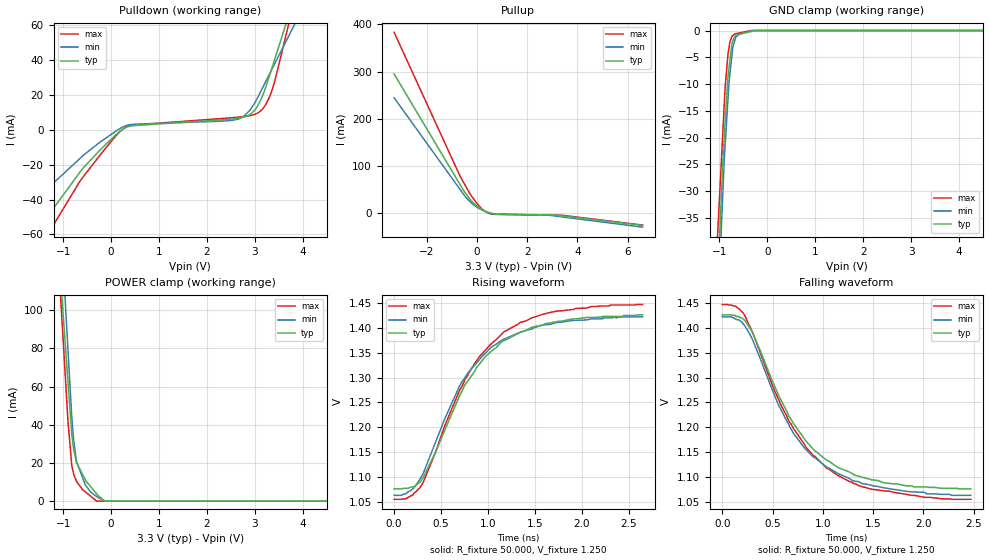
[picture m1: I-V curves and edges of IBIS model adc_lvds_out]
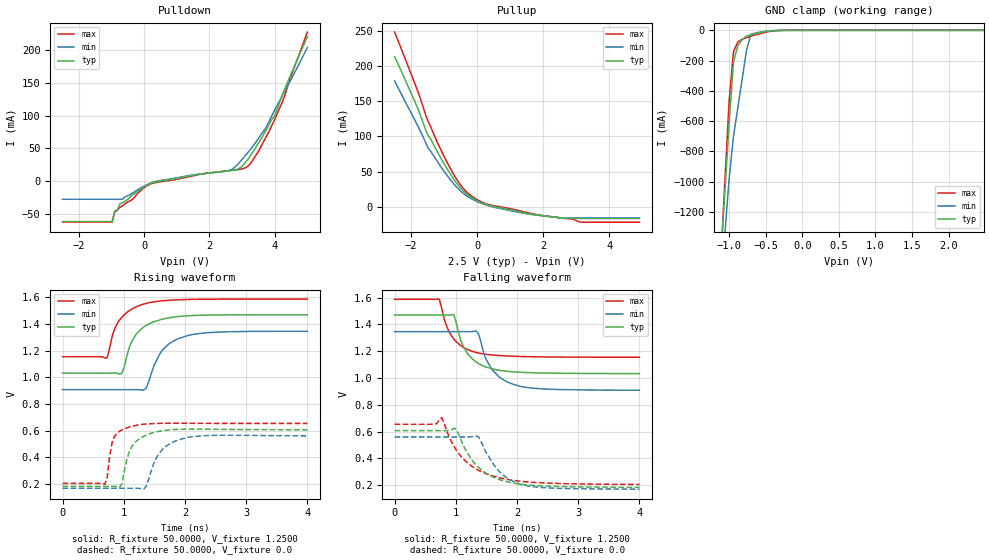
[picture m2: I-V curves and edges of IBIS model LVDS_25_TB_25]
[IBIS Ver]   3.2
[Comment Char] |_char
[File Name]   LVDS_OUT.ibs
[File Rev]   3.0
[Source]
| This model file was created by Teraspeed Consulting Group LLC
| (http://www.teraspeed.com/).
[Date]   09-03-2008
[Notes]   Quality Check of this IBIS model: Model Passes IBIS Check
   Model parses into ICX IS. Simulation done with Hyperlynx.
   1. MIN TYP MAX information is based on Temperature and Voltage
   characteristics only.
[Disclaimer]
| This model is designed as an aid for customers of Texas Instruments.
| TI and its licensors and suppliers make no warranties, either expressed
| or implied, with respect to this  model, including the warranties of
| merchantability or fitness for a particular purpose.
| The model is provided solely on an "as is" basis. The entire risk as to
| its quality and performance is with the customer.
[Copyright]
|  (C) Copyright 2008 Texas Instruments Incorporated. All rights reserved.
[Component]   ADS5463
[Manufacturer] TI
[Package]
| variable   typ   min   max
R_pkg  1.550E-01   1.256E-01   2.000E-01
L_pkg  2.837E-09   2.298E-09   3.660E-09
C_pkg  6.953E-13   5.633E-13   8.970E-13
[Pin] signal_name  model_name
C10  	LA06_P   adc_lvds_out
C11  	LA06_N   adc_lvds_out
C14	LA10_P   adc_lvds_out
C15	LA10_N   adc_lvds_out
C18  	LA14_P   adc_lvds_out
C19  	LA14_N   adc_lvds_out
C22	LA18_P_CC  adc_lvds_out
C23	LA18_N_CC  adc_lvds_out
C26	LA27_P   adc_lvds_out
C27	LA27_N   adc_lvds_out
D8  	LA01_P_CC  adc_lvds_out
D9  	LA01_N_CC  adc_lvds_out
D11	LA05_P   adc_lvds_out
D12	LA05_N   adc_lvds_out
D14  	LA05_P   adc_lvds_out
D15  	LA05_N   adc_lvds_out
D17	LA13_P   adc_lvds_out
D18	LA13_N   adc_lvds_out
D20	LA17_P_CC  adc_lvds_out
D21	LA17_N_CC  adc_lvds_out
D23	LA23_P   adc_lvds_out
D24	LA23_N   adc_lvds_out
D26  	LA26_P   adc_lvds_out
D27  	LA26_N   adc_lvds_out
G2  	CLK1_M2C_P adc_lvds_out
G3  	CLK1_M2C_N adc_lvds_out
G6  	LA00_P_CC  adc_lvds_out
G7  	LA00_N_CC  adc_lvds_out
G9	LA03_P   adc_lvds_out
G10	LA03_N   adc_lvds_out
G12  	LA08_P   adc_lvds_out
G13  	LA08_N   adc_lvds_out
G15	LA12_P   adc_lvds_out
G16	LA12_N   adc_lvds_out
G18	LA16_P   adc_lvds_out
G19	LA16_N   adc_lvds_out
G21	LA20_P   adc_lvds_out
G22	LA20_N   adc_lvds_out
G24  	LA22_P   adc_lvds_out
G25  	LA22_N   adc_lvds_out
G27	LA25_P   adc_lvds_out
G28	LA25_N   adc_lvds_out
G30  	LA29_P   adc_lvds_out
G31  	LA29_N   adc_lvds_out
G33  	LA31_P   adc_lvds_out
G34  	LA31_N   adc_lvds_out
G36  	LA33_P   adc_lvds_out
G37  	LA33_N   adc_lvds_out
H4  	CLK0_M2C_P adc_lvds_out
H5  	CLK0_M2C_N adc_lvds_out
H7  	LA02_P  	adc_lvds_out
H8  	LA02_N  	adc_lvds_out
H10	LA04_P   adc_lvds_out
H11	LA04_N   adc_lvds_out
H13  	LA07_P   adc_lvds_out
H14  	LA07_N   adc_lvds_out
H16	LA11_P   adc_lvds_out
H17	LA11_N   adc_lvds_out
H19	LA15_P   adc_lvds_out
H20	LA15_N   adc_lvds_out
H22	LA19_P   adc_lvds_out
H23	LA19_N   adc_lvds_out
H25  	LA21_P   adc_lvds_out
H26  	LA21_N   adc_lvds_out
H28	LA24_P   adc_lvds_out
H29	LA24_N   adc_lvds_out
H31  	LA28_P   adc_lvds_out
H32  	LA28_N   adc_lvds_out
H34  	LA30_P   adc_lvds_out
H35  	LA30_N   adc_lvds_out
H37  	LA32_P   adc_lvds_out
H38  	LA32_N   adc_lvds_out
[Diff Pin]   inv_Pin	vdiff   tdelay_typ   tdelay_min   tdelay_max
C10   C11   100mv   0   0   0
C14   C15   100mv   0   0   0
C18   C19   100mv   0   0   0
C22   C23   100mv   0   0   0
C26   C27   100mv   0   0   0
D8   D9   100mv   0   0   0
D11   D12   100mv   0   0   0
D14   D15   100mv   0   0   0
D17   D18   100mv   0   0   0
D20   D21   100mv   0   0   0
D23   D24   100mv   0   0   0
D26   D27   100mv   0   0   0
G2   G3   100mv   0   0   0
G6   G7   100mv   0   0   0
G9   G10   100mv   0   0   0
G12   G13   100mv   0   0   0
G15   G16   100mv   0   0   0
G18   G19   100mv   0   0   0
G21   G22   100mv   0   0   0
G24   G25   100mv   0   0   0
G27   G28   100mv   0   0   0
G30   G31   100mv   0   0   0
G33   G34   100mv   0   0   0
G36   G37   100mv   0   0   0
H4   H5   100mv   0   0   0
H7   H8   100mv   0   0   0
H10   H11   100mv   0   0   0
H13   H14   100mv   0   0   0
H16   H17   100mv   0   0   0
H19   H20   100mv   0   0   0
H22   H23   100mv   0   0   0
H25   H26   100mv   0   0   0
H28   H29   100mv   0   0   0
H31   H32   100mv   0   0   0
H34   H35   100mv   0   0   0
H37   H38   100mv   0   0   0
| Models and submodels in the file (2): adc_lvds_out (Output), LVDS_25_TB_25 (I/O)
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[Model]   adc_lvds_out
Model_type Output
Vref=1.250E+00
Rref=5.000E+01
Cref=0.000E+00
Vmeas=1.250E+00
C_comp   5.750E-13   5.750E-13   5.750E-13
[Voltage Range]   3.300E+00   3.000E+00   3.600E+00
[POWER Clamp Reference]   3.300E+00   3.000E+00   3.600E+00
[GND Clamp Reference]   0.000E+00   0.000E+00   0.000E+00
[Pullup Reference]   3.300E+00   3.000E+00   3.600E+00
[Pulldown Reference]   0.000E+00   0.000E+00   0.000E+00
[Temperature Range]   25   85   -40
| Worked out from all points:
|   slope of the pulldown table from 0 to 0.495 V, typ, clamps not added: 62.3 ohm
|   slope of the pullup table from 0 to 0.495 V, typ, clamps not added: 34.6 ohm
|   GND clamp passes 1 mA (typ) near -0.67 V on its own axis
|   POWER clamp passes 1 mA (typ) near -0.18 V on its own axis
|   rising waveform, R_fixture 50.000, V_fixture 1.250: 20-80 % time 625ps typ, 611ps min, 633ps max; typ from 1.08 V to 1.43 V
|   falling waveform, R_fixture 50.000, V_fixture 1.250: 20-80 % time 589ps typ, 592ps min, 618ps max; typ from 1.43 V to 1.08 V
[GND Clamp]
-3.6V     -572.9mA   -589.2mA   -487.5mA
-3V       -449.8mA   -463.6mA   -382.2mA
-920mV    -22.85mA   -28.49mA   -17.46mA
-880mV    -17.11mA   -21.37mA   -10.45mA
-820mV    -8.505mA   -12.58mA   -4.285mA
-800mV    -7.013mA   -9.643mA   -3.185mA
-740mV    -2.537mA   -4.72mA    -1.089mA
-720mV    -1.974mA   -3.079mA   -937.9uA
-680mV    -1.171mA   -1.846mA   -635.1uA
-600mV    -773.6uA   -744.8uA   -485.7uA
-300mV    -114.9uA   0A         0A
7.2V      0A         0A         0A
[POWER Clamp]
-3.9V     1.11A      1.418A     1.314A
-1.06V    118.9mA    151.2mA    110.1mA
-900mV    63.05mA    79.93mA    42.28mA
-820mV    35.13mA    44.28mA    18.78mA
-780mV    27.06mA    31.92mA    14.06mA
-720mV    20.13mA    20.69mA    10.31mA
-600mV    14.29mA    12.64mA    6.161mA
-540mV    11.36mA    8.609mA    4.929mA
-420mV    7.4mA      4.593mA    2.464mA
-300mV    3.814mA    2.407mA    13.88uA
-130mV    0A         109.5uA    0A
6.9V      0A         0A         0A
[Pullup]
-3.3V     294.8mA    244.3mA    383.1mA
-680mV    60.74mA    50.34mA    79.07mA
-420mV    39.13mA    31.77mA    53.95mA
-200mV    24.33mA    19.94mA    34.66mA
80mV      11.61mA    9.586mA    15.06mA
280mV     5.195mA    4.064mA    4.892mA
460mV     1.02mA     117.7uA    -657.3uA
640mV     -1.534mA   -2.074mA   -2.761mA
2.8V      -4.191mA   -4.545mA   -4.458mA
3.4V      -6.395mA   -8.558mA   -5.006mA
6.6V      -26.52mA   -30.22mA   -25.85mA
[Pulldown]
-3.3V     -123.6mA   -83.8mA    -149.9mA
-1.02V    -38.2mA    -25.9mA    -46.34mA
-560mV    -21.24mA   -14.22mA   -26.22mA
100mV     -2.912mA   -815.3uA   -3.547mA
320mV     1.471mA    2.465mA    1.663mA
2.52V     6.143mA    5.369mA    6.894mA
2.88V     8.433mA    10.79mA    7.987mA
3.06V     13.87mA    18.68mA    9.644mA
3.2V      22.44mA    26.32mA    13.37mA
3.32V     32.53mA    32.84mA    19.92mA
3.46V     44.57mA    40.45mA    33.02mA
6.6V      314.6mA    211.1mA    388.3mA
[Rising Waveform]
R_fixture = 50.000
V_fixture = 1.250
V_fixture_min = 1.250
V_fixture_max = 1.250
|  time   V(typ)   V(min)   V(max)
0s        1.076V     1.063V     1.055V
187.5ps   1.08V      1.074V     1.063V
277.5ps   1.09V      1.096V     1.079V
442.5ps   1.15V      1.17V      1.15V
537.5ps   1.193V     1.216V     1.202V
725ps     1.273V     1.292V     1.283V
917.5ps   1.329V     1.338V     1.344V
1.177ns   1.375V     1.378V     1.393V
1.717ns   1.412V     1.41V      1.433V
2.65ns    1.426V     1.422V     1.447V
[Falling Waveform]
R_fixture = 50.000
V_fixture = 1.250
V_fixture_min = 1.250
V_fixture_max = 1.250
|  time   V(typ)   V(min)   V(max)
0s        1.426V     1.422V     1.447V
132.5ps   1.423V     1.418V     1.444V
242.5ps   1.41V      1.398V     1.417V
297.5ps   1.392V     1.378V     1.393V
507.5ps   1.288V     1.27V      1.279V
672.5ps   1.22V      1.2V       1.209V
827.5ps   1.173V     1.156V     1.161V
1.043ns   1.133V     1.119V     1.117V
1.49ns    1.094V     1.083V     1.075V
2.47ns    1.076V     1.063V     1.055V
[Ramp]
dV/dt_r   2.6026E+00/4.4370E-10   2.4232E+00/5.2280E-10   2.7828E+00/4.1440E-10
dV/dt_f   2.6023E+00/5.8967E-10   2.4228E+00/5.7637E-10   2.7824E+00/6.0701E-10
R_load = 50
|   Model LVDS_25_TB_25
[Model]  LVDS_25_TB_25
Model_type I/O
Polarity   Non-Inverting
Enable   Active-Low
Vinl =   1.0000V
Vinh =   1.4000V
Vmeas =  1.2000V
Cref =   0.0F
Rref =   50.0000
Vref =   1.2000V
C_comp   5.71pF   5.63pF   6.21pF
|C_comp  6.33pF   6.15pF   6.69pF
[Temperature Range]   25.0000   85.0000   0.0
[Voltage Range]   2.5000V   2.2500V   2.7500V
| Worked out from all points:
|   slope of the pulldown table from 0 to 0.375 V, typ, clamps not added: 46.5 ohm
|   slope of the pullup table from 0 to 0.375 V, typ, clamps not added: 54.3 ohm
|   GND clamp passes 1 mA (typ) near -0.36 V on its own axis
|   rising waveform, R_fixture 50.0000, V_fixture 1.2500: 20-80 % time 311ps typ, 334ps min, 313ps max; typ from 1.03 V to 1.47 V
|   rising waveform, R_fixture 50.0000, V_fixture 0.0: 20-80 % time 211ps typ, 273ps min, 120ps max; typ from 0.183 V to 0.608 V
|   falling waveform, R_fixture 50.0000, V_fixture 1.2500: 20-80 % time 306ps typ, 330ps min, 304ps max; typ from 1.47 V to 1.03 V
|   falling waveform, R_fixture 50.0000, V_fixture 0.0: 20-80 % time 478ps typ, 402ps min, 554ps max; typ from 0.608 V to 0.185 V
[Pulldown]
|Voltage   I(typ)   I(min)   I(max)
-2.5V     -61.6mA    -27.51mA   -62.5mA
-980mV    -61.6mA    -27.51mA   -62.5mA
-900mV    -45.6mA    -27.51mA   -46.81mA
-740mV    -34.58mA   -27.51mA   -39.74mA
220mV     -2.917mA   -2.422mA   -3.841mA
2.62V     15.99mA    16.61mA    16.3mA
2.94V     20.24mA    29.62mA    18.16mA
3.18V     33.32mA    43.81mA    22.92mA
3.74V     78.2mA     82.08mA    67.89mA
4.06V     107.7mA    114.4mA    100.9mA
4.3V      139.7mA    136.5mA    129.3mA
5V        220.4mA    203.9mA    227.3mA
[Pullup]
|Voltage   I(typ)   I(min)   I(max)
-2.5V     213.1mA    178.5mA    247.8mA
-1.88V    148.5mA    122.2mA    173.9mA
-1.48V    100.5mA    83.24mA    120.4mA
-1.16V    74.27mA    61.13mA    86.94mA
-680mV    37.2mA     31.07mA    43.35mA
-440mV    23.4mA     19.86mA    27.27mA
-200mV    14.3mA     12.08mA    16.44mA
280mV     2.956mA    2.276mA    4.022mA
1.8V      -11.6mA    -11.78mA   -11.07mA
2.92V     -16.57mA   -15.65mA   -17.89mA
3.16V     -16.57mA   -15.65mA   -21.87mA
4.92V     -16.57mA   -15.65mA   -21.87mA
[GND_clamp]
|Voltage   I(typ)   I(min)   I(max)
-2.5V     -12.34A    -10.45A    -14.37A
-1.12V    -1.552A    -1.737A    -1.574A
-1.06V    -1.086A    -1.36A     -1.022A
-1V       -620.4mA   -984.1mA   -471.1mA
-940mV    -209.6mA   -700.3mA   -141.1mA
-880mV    -100.4mA   -509.1mA   -76.1mA
-820mV    -60.93mA   -317.9mA   -59.55mA
-760mV    -37.45mA   -126.7mA   -48.26mA
-700mV    -29.96mA   -25.9mA    -37.98mA
-460mV    -4.716mA   -4.925mA   -8.2mA
-220mV    -25.71uA   -31.02uA   -35.24uA
2.48V     24.73nA    227.2nA    26.29nA
[POWER_clamp]
|Voltage   I(typ)   I(min)   I(max)
-4.1V     0A         0A         0A
-4.08V    0A         0A         0A
-4.04V    0A         0A         0A
-800mV    0A         0A         0A
[Ramp]
| variable   typ   min   max
dV/dt_r  0.2545/0.1961n   0.2353/0.2615n   0.2696/0.1202n
dV/dt_f  0.2364/72.6381p   0.2196/0.1185n   0.2562/53.0873p
R_load = 50.0000
[Rising Waveform]
R_fixture= 50.0000
V_fixture= 1.2500
V_fixture_min= 1.1250
V_fixture_max= 1.3750
|time   V(typ)   V(min)   V(max)
0s        1.032V     908.4mV    1.155V
730ps     1.032V     908.4mV    1.147V
850ps     1.033V     908.4mV    1.363V
970ps     1.03V      908.4mV    1.451V
1.13ns    1.269V     908.5mV    1.511V
1.37ns    1.391V     921.4mV    1.555V
1.49ns    1.417V     1.084V     1.566V
1.62ns    1.435V     1.198V     1.573V
1.94ns    1.458V     1.298V     1.583V
4ns       1.469V     1.346V     1.587V
[Rising Waveform]
R_fixture= 50.0000
V_fixture= 0.0
|time   V(typ)   V(min)   V(max)
0s        183.3mV    169.7mV    205.8mV
690ps     183.3mV    169.7mV    198.6mV
810ps     183.4mV    169.7mV    513.1mV
850ps     183.8mV    169.7mV    558mV
970ps     202mV      169.7mV    607.1mV
1.13ns    480.2mV    169.7mV    633.3mV
1.33ns    559.6mV    162.6mV    649.3mV
1.58ns    596mV      431.5mV    655.4mV
1.9ns     610.7mV    532.4mV    656.5mV
4ns       607.6mV    561.8mV    655.1mV
[Falling Waveform]
R_fixture= 50.0000
V_fixture= 1.2500
V_fixture_min= 1.1250
V_fixture_max= 1.3750
|time   V(typ)   V(min)   V(max)
0s        1.47V      1.346V     1.587V
730ps     1.47V      1.346V     1.589V
850ps     1.469V     1.346V     1.387V
970ps     1.47V      1.346V     1.29V
1.13ns    1.23V      1.346V     1.227V
1.33ns    1.12V      1.351V     1.191V
1.49ns    1.083V     1.143V     1.177V
1.58ns    1.071V     1.071V     1.173V
1.9ns     1.048V     959.9mV    1.163V
4ns       1.033V     909.2mV    1.155V
[Falling Waveform]
R_fixture= 50.0000
V_fixture= 0.0
|time   V(typ)   V(min)   V(max)
0s        607.5mV    560.3mV    655.2mV
650ps     607.5mV    560.3mV    655.6mV
770ps     607.5mV    560.3mV    703.6mV
1.01ns    617.5mV    560.3mV    460.5mV
1.17ns    455.7mV    560.2mV    376.1mV
1.37ns    333.6mV    561.1mV    312.1mV
1.7ns     245.3mV    308.5mV    257.8mV
1.94ns    217mV      229mV      237.3mV
2.26ns    199.7mV    190mV      222.1mV
4ns       184.6mV    171.2mV    206.6mV
